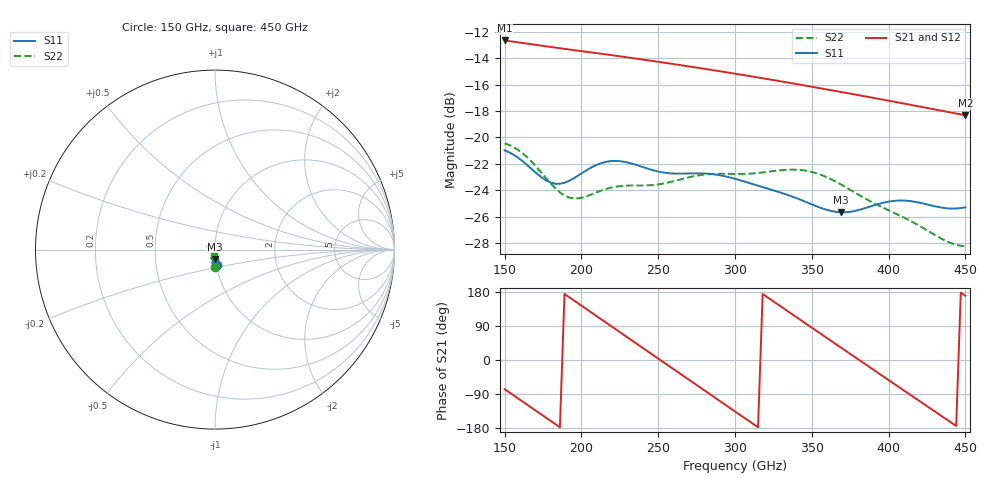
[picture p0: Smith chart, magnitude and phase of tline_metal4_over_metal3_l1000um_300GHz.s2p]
#  GHZ S DB R 50
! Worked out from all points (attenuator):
!   101 points, 150 GHz to 450 GHz, reference 50 ohm
!   highest |S21| = -12.66 dB at 150 GHz (marker M1); lowest = -18.3 dB at 450 GHz (marker M2)
!   lowest |S11| = -25.7 dB at 369 GHz (marker M3), VSWR 1.11, Z = 49.5 - j5.16 ohm
!   |S11| at or under -10 dB: start of sweep to end of sweep
!   |S22| runs from -28.2 to -20.5 dB; largest |S21 - S12| = 2.4e-14
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150  -20.98 -82.3  -12.66 -77.0  -12.66 -77.0  -20.45 -89.1
162  -21.83 -85.2  -12.85 -110.5  -12.85 -110.5  -21.23 -94.8
177  -23.25 -81.9  -13.10 -152.4  -13.10 -152.4  -23.09 -97.2
189  -23.43 -74.5  -13.29 174.1  -13.29 174.1  -24.40 -91.4
201  -22.65 -71.2  -13.48 140.7  -13.48 140.7  -24.54 -83.4
213  -21.94 -74.1  -13.67 107.1  -13.67 107.1  -24.02 -80.2
225  -21.80 -79.3  -13.86 73.6  -13.86 73.6  -23.69 -80.8
240  -22.24 -84.1  -14.10 31.7  -14.10 31.7  -23.64 -81.6
252  -22.63 -85.2  -14.31 -1.9  -14.31 -1.9  -23.52 -81.2
264  -22.74 -85.7  -14.52 -35.4  -14.52 -35.4  -23.20 -81.7
276  -22.72 -87.5  -14.73 -68.9  -14.73 -68.9  -22.88 -84.0
288  -22.82 -90.5  -14.95 -102.3  -14.95 -102.3  -22.75 -87.1
300  -23.13 -93.4  -15.17 -135.8  -15.17 -135.8  -22.77 -89.6
321  -23.87 -96.4  -15.58 165.8  -15.58 165.8  -22.61 -93.4
336  -24.43 -97.5  -15.88 124.1  -15.88 124.1  -22.44 -98.4
351  -25.12 -97.2  -16.18 82.5  -16.18 82.5  -22.65 -105.1
369  -25.67 -92.6  -16.56 32.7  -16.56 32.7  -23.57 -111.8
384  -25.38 -88.8  -16.88 -8.8  -16.88 -8.8  -24.58 -114.1
402  -24.83 -89.6  -17.26 -58.5  -17.26 -58.5  -25.63 -114.0
423  -25.02 -92.7  -17.72 -116.3  -17.72 -116.3  -26.90 -112.2
438  -25.37 -91.3  -18.06 -157.6  -18.06 -157.6  -27.87 -106.9
450  -25.29 -88.6  -18.33 169.5  -18.33 169.5  -28.24 -99.4
